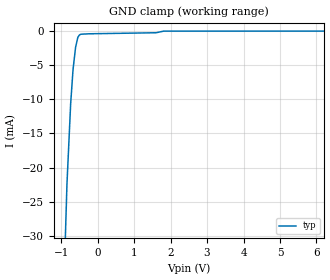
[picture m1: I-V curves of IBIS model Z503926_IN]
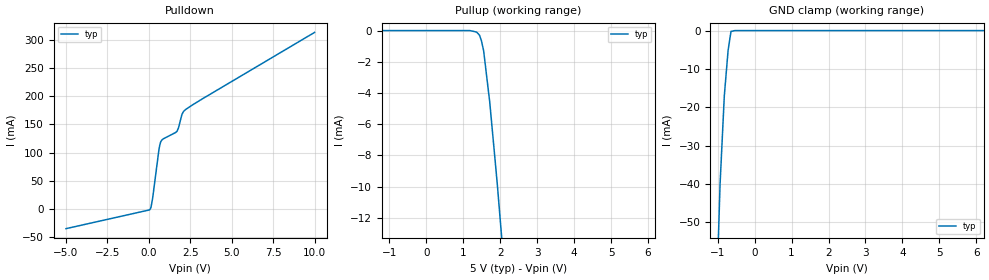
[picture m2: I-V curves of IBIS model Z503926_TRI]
| YOU ARE ONLY AUTHORIZED TO USE THIS SOFTWARE
| ACCORDING TO LICENSOR'S LICENSE RESTRICTIONS.
[IBIS Ver] 3.1
[File Name] mc54f257aj.ibs
[File Rev] 2.0
[Source] Measured and created by ICX Technology
[Date] Friday 7/14/00 9:08:03 AM
[Copyright]
| (C) COPYRIGHT 1993-2000
| MENTOR GRAPHICS CORPORATION
| ICX STANDARD LIBRARY, ICX PROJECT MODELING,
| ICX CUSTOM MODELING, ICX VENDOR MODEL
| ALL RIGHTS RESERVED.
| THE FOLLOWING ARE TRADEMARKS OR SERVICE MARKS OF
| MENTOR GRAPHICS CORPORATION:ICX (R), ICX STANDARD
| LIBRARY(R), ICX PROJECT MODELING(R), ICX CUSTOM
| MODELING(R), qualityIBIS(TM), MODELVIEWER(TM),
| AND MODELEDITOR(TM)
| ALL COPIES OF SOFTWARE, INCLUDING BUT NOT LIMITED TO
| ANY MODIFICATIONS, ENHANCEMENTS OR DERIVATIVE WORKS,
| MUST CONTAIN ALL MENTOR GRAPHICS CORPORATION'S
| NOTICES AND LEGENDS, INCLUDING THOSE EMBEDDED IN
| SOFTWARE AND THOSE AFFIXED TO SOFTWARE MEDIUM
| AND CONTAINER, AS RECEIVED FROM MENTOR GRAPHICS
| CORPORATION.
|  ZAP Model Builder 2.7
[Component] MC54F257AJ
[Manufacturer] OnSemiconductor
[Package]
| variable   typ   min   max
R_pkg  .212ohms NA NA
L_pkg  4.758nH NA NA
C_pkg  1.944pF NA NA
[Pin] signal_name  model_name  R_pin  L_pin C_pin
1 B_A Z503926_IN .224 7.258n 2.683p
2 A0 Z503926_IN .216 5.258n 2.19p
3 B0 Z503926_IN .208 3.758n 1.697p
4 Y0 Z503926_TRI .2 2.758n 1.204p
5 A1 Z503926_IN .2 2.758n 1.204p
6 B1 Z503926_IN .208 3.758n 1.697p
7 Y1 Z503926_TRI .216 5.258n 2.19p
8 GND GND .224 7.258n 2.683p
9 Y2 Z503926_TRI .224 7.258n 2.683p
10 B2 Z503926_IN .216 5.258n 2.19p
11 A2 Z503926_IN .208 3.758n 1.697p
12 Y3 Z503926_TRI .2 2.758n 1.204p
13 B3 Z503926_IN .2 2.758n 1.204p
14 A3 Z503926_IN .208 3.758n 1.697p
15 _G Z503926_IN .216 5.258n 2.19p
16 VCC POWER .224 7.258n 2.683p
| Models and submodels in the file (2): Z503926_IN (Input), Z503926_TRI (3-state)
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| (C) COPYRIGHT 1993-2000
| MENTOR GRAPHICS CORPORATION
| ICX STANDARD LIBRARY, ICX PROJECT MODELING,
| ICX CUSTOM MODELING, ICX VENDOR MODEL
| ALL RIGHTS RESERVED.
| THE FOLLOWING ARE TRADEMARKS OR SERVICE MARKS OF
| MENTOR GRAPHICS CORPORATION:ICX (R), ICX STANDARD
| LIBRARY(R), ICX PROJECT MODELING(R), ICX CUSTOM
| MODELING(R), qualityIBIS(TM), MODELVIEWER(TM),
| AND MODELEDITOR(TM)
| ALL COPIES OF SOFTWARE, INCLUDING BUT NOT LIMITED TO
| ANY MODIFICATIONS, ENHANCEMENTS OR DERIVATIVE WORKS,
| MUST CONTAIN ALL MENTOR GRAPHICS CORPORATION'S
| NOTICES AND LEGENDS, INCLUDING THOSE EMBEDDED IN
| SOFTWARE AND THOSE AFFIXED TO SOFTWARE MEDIUM
| AND CONTAINER, AS RECEIVED FROM MENTOR GRAPHICS
| CORPORATION.
| Model Application Version 1.89 2/18/99.
[Model] Z503926_IN
Model_type Input
Vinl = 800.0mV
Vinh = 2.000V
C_comp 4.000pF NA NA
| variable typ   min   max
[Voltage Range] 5.000V NA NA
[GND Clamp Reference] 0.000V NA NA
[POWER Clamp Reference] 5.000V NA NA
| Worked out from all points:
|   GND clamp passes 1 mA (typ) near -0.55 V on its own axis
[GND Clamp]
-5V       -760.8mA   NA         NA
-839.8mV  -22.43mA   NA         NA
-738.7mV  -10.68mA   NA         NA
-673.3mV  -5.644mA   NA         NA
-604.4mV  -2.394mA   NA         NA
-541.8mV  -918.4uA   NA         NA
-500.8mV  -588.4uA   NA         NA
-463.1mV  -456.7uA   NA         NA
-231.5mV  -393.9uA   NA         NA
1.607V    -240.8uA   NA         NA
1.807V    -3.733uA   NA         NA
10V       2.613uA    NA         NA
[POWER Clamp]
-5V       0A         NA         NA
10V       0A         NA         NA
| (C) COPYRIGHT 1993-2000
| MENTOR GRAPHICS CORPORATION
| ICX STANDARD LIBRARY, ICX PROJECT MODELING,
| ICX CUSTOM MODELING, ICX VENDOR MODEL
| ALL RIGHTS RESERVED.
| THE FOLLOWING ARE TRADEMARKS OR SERVICE MARKS OF
| MENTOR GRAPHICS CORPORATION:ICX (R), ICX STANDARD
| LIBRARY(R), ICX PROJECT MODELING(R), ICX CUSTOM
| MODELING(R), qualityIBIS(TM), MODELVIEWER(TM),
| AND MODELEDITOR(TM)
| ALL COPIES OF SOFTWARE, INCLUDING BUT NOT LIMITED TO
| ANY MODIFICATIONS, ENHANCEMENTS OR DERIVATIVE WORKS,
| MUST CONTAIN ALL MENTOR GRAPHICS CORPORATION'S
| NOTICES AND LEGENDS, INCLUDING THOSE EMBEDDED IN
| SOFTWARE AND THOSE AFFIXED TO SOFTWARE MEDIUM
| AND CONTAINER, AS RECEIVED FROM MENTOR GRAPHICS
| CORPORATION.
| Model Application Version 1.89 2/18/99.
[Model] Z503926_TRI
Model_type 3-state
Vref=0.000V
Rref=500.0ohms
Cref=50.00pF
Vmeas=1.500V
C_comp 8.000pF NA NA
| variable typ   min   max
[Voltage Range] 5.000V NA NA
[POWER Clamp Reference] 5.000V NA NA
[Pullup Reference] 5.000V NA NA
[Pulldown Reference] 0.000V NA NA
[GND Clamp Reference] 0.000V NA NA
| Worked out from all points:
|   slope of the pulldown table from 0 to 0.75 V, typ, clamps not added: 6.09 ohm
|   GND clamp passes 1 mA (typ) near -0.65 V on its own axis
[GND Clamp]
-5V       -1.882A    NA         NA
-1.055V   -77.08mA   NA         NA
-935mV    -40.07mA   NA         NA
-820.3mV  -17.02mA   NA         NA
-717.6mV  -5.155mA   NA         NA
-639.6mV  -214.5uA   NA         NA
-533mV    0A         NA         NA
10V       0A         NA         NA
[Pulldown]
-5V       -35.57mA   NA         NA
69.24mV   -1.503mA   NA         NA
129.2mV   2.1mA      NA         NA
229.3mV   18.49mA    NA         NA
611mV     105.4mA    NA         NA
717.8mV   119.1mA    NA         NA
873.7mV   124.4mA    NA         NA
1.697V    137.7mA    NA         NA
1.787V    143.7mA    NA         NA
1.998V    167.9mA    NA         NA
2.095V    173.3mA    NA         NA
10V       314mA      NA         NA
[Pullup]
-5V       2.988uA    NA         NA
1.184V    2.988uA    NA         NA
1.363V    -93.53uA   NA         NA
1.44V     -287.3uA   NA         NA
1.494V    -652.4uA   NA         NA
1.553V    -1.295mA   NA         NA
1.718V    -4.581mA   NA         NA
1.923V    -9.852mA   NA         NA
10V       -242.3mA   NA         NA
[POWER Clamp]
-5V       0A         NA         NA
10V       0A         NA         NA
[Ramp]
| variable typ min max
dV/dt_r 1.872/1.815n NA NA
dV/dt_f 1.872/1.098n NA NA
R_load = 500.0Ohms
